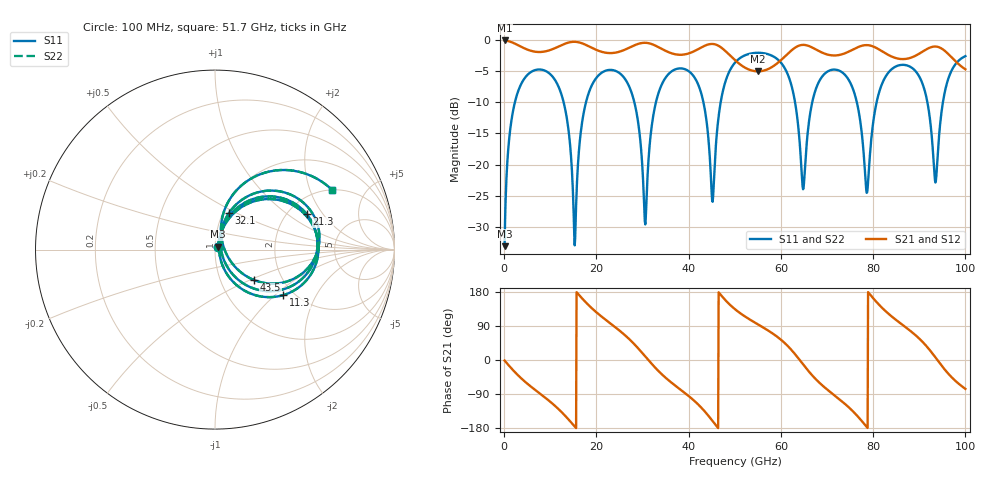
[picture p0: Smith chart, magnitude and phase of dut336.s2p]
! Touchstone file exported from HFSS 2026.1.0
!  File:  C:/ffzhzh/LocalFiles/Ansys_Project_Files/temp_train_TSV_RDL_336_1783705371_45164.aedt
!  Generated:  01:53:13 AM Jul 11, 2026
!  Design:  TSV_RDL
!  Project:  temp_train_TSV_RDL_336_1783705371_45164
! Variables:
!  h_bsmrdl = 3.89um
!  h_ox = 20um
!  h_rdl = 5um
!  h_sub = 50.37um
!  h_tmrdl = 3.67um
!  h_tsv = 50.37um
!  h_via = 3um
!  l_bsmrdl = 419.19um
!  l_sub = 4166.19um
!  l_tmrdl = 590.18um
!  m_sub = 200um
!  pitch = 58.91um
!  r_tsv = 11.29um
!  s_tmrdl = 10um
!  w_bsmrdl = 26.79um
!  w_sub = 500um
!  w_tmrdl = 22.51um
!  x_tsv_center1 = 601.435um
!  x_tsv_center2 = 1047.415um
!  x_tsv_center3 = 1660.105um
!  x_tsv_center4 = 2106.085um
!  x_tsv_center5 = 2718.775um
!  x_tsv_center6 = 3164.755um
# GHz S MA R 50.000000
! Terminal data exported
! Port[1] = TM_RDL1_1_T1
! Port[2] = TM_RDL5_1_T1
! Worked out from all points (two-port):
!   1000 points, 100 MHz to 100 GHz, reference 50 ohm
!   highest |S21| = -0.14 dB at 100 MHz (marker M1); lowest = -5.1 dB at 55 GHz (marker M2)
!   |S21| within 3 dB of the highest: start of sweep to 49.82 GHz; 60.24 GHz to 97.41 GHz (37.17 GHz wide, 47.2 % of centre)
!   lowest |S11| = -33.1 dB at 100 MHz (marker M3), VSWR 1.05, Z = 51.6 + j1.62 ohm
!   |S11| at or under -10 dB: 12.89 GHz to 17.75 GHz (4.862 GHz wide, 31.7 % of centre); 28.22 GHz to 32.92 GHz (4.699 GHz wide, 15.4 % of centre); 76.46 GHz to 80.76 GHz (4.302 GHz wide, 5.47 % of centre) (the widest 3 of 7)
!   |S22| runs from -33.1 to -2.1 dB; largest |S21 - S12| = 2.3e-12
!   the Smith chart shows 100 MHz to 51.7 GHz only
!   S11 on the Smith chart (normalised r, x): 100 MHz: 1.03, +0.03; 11.3 GHz: 1.76, -1.13; 21.3 GHz: 2.52, +1.42; 32.1 GHz: 1.07, +0.45; 43.5 GHz: 1.44, -0.53; 51.7 GHz: 2.02, +2.89
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0.1  0.02224 44.8  0.9845 -1.5  0.9845 -1.5  0.02224 44.8
! Gamma 0 0 0 0
! Port Impedance 50 0 50 0
3.1  0.3925 45.6  0.8991 -41.4  0.8991 -41.4  0.3925 45.6
11.3  0.4572 -33.7  0.8635 -124.0  0.8635 -124.0  0.4571 -33.7
15.3  0.02258 -0.2  0.9607 -175.5  0.9607 -175.5  0.02219 -0.2
16.8  0.2054 66.7  0.9366 163.9  0.9366 163.9  0.2054 66.8
21.3  0.5481 21.2  0.7958 112.9  0.7958 112.9  0.548 21.2
27.6  0.3787 -37.8  0.8782 49.5  0.8782 49.5  0.3786 -37.7
30.6  0.03321 12.5  0.9428 9.3  0.9428 9.3  0.03352 12.7
32.1  0.2171 69.2  0.9179 -11.6  0.9179 -11.6  0.2173 69.2
33.4  0.3675 56.6  0.8725 -28.4  0.8725 -28.4  0.3676 56.6
43.5  0.2765 -37.9  0.8935 -135.8  0.8935 -135.8  0.2764 -37.9
45.2  0.05042 23.3  0.9231 -161.1  0.9231 -161.1  0.05055 23.5
50.1  0.6574 40.1  0.6822 133.5  0.6822 133.5  0.6575 40.1
51.7  0.7331 26.8  0.6128 119.0  0.6128 119.0  0.7332 26.8
55  0.7845 3.7  0.5572 94.2  0.5572 94.2  0.7846 3.8
64.8  0.06343 -14.9  0.9077 -11.3  0.9077 -11.3  0.06348 -14.9
66.7  0.3035 40.5  0.8679 -39.4  0.8679 -39.4  0.3034 40.6
73.6  0.5353 -21.1  0.7705 -112.8  0.7705 -112.8  0.5353 -20.9
77.9  0.1289 -50.3  0.8988 -166.2  0.8988 -166.2  0.1299 -49.1
83.4  0.5499 27.7  0.7505 121.2  0.7505 121.2  0.5502 27.5
93.4  0.07506 -10.4  0.8807 8.5  0.8807 8.5  0.07312 -10.9
100  0.7376 10.7  0.5789 -76.3  0.5789 -76.3  0.7375 10.7
